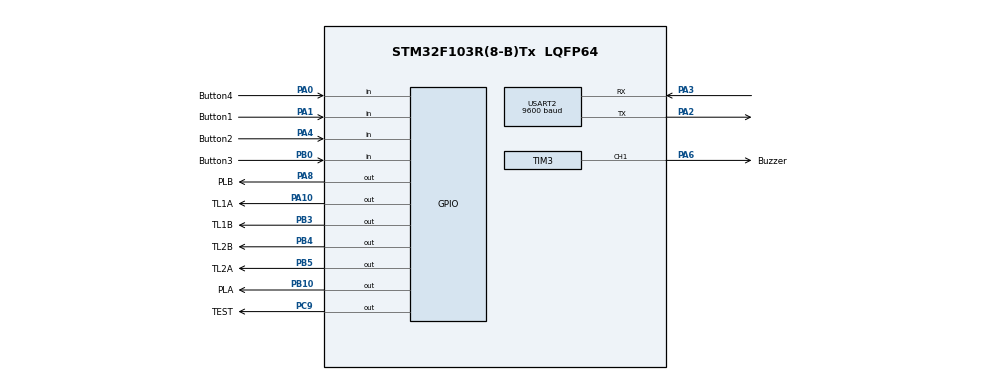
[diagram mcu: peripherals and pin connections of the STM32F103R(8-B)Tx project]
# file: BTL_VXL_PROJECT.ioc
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Mcu.Family=STM32F1
Mcu.Name=STM32F103R(8-B)Tx
Mcu.Package=LQFP64
NVIC.PriorityGroup=NVIC_PRIORITYGROUP_4
NVIC.TIM2_IRQn=true\:0\:0\:false\:false\:true\:true\:true
NVIC.TIM3_IRQn=true\:0\:0\:false\:false\:true\:true\:true
NVIC.USART2_IRQn=true\:0\:0\:false\:false\:true\:true\:true
PA0-WKUP.GPIO_Label=Button4
PA0-WKUP.GPIO_PuPd=GPIO_PULLUP
PA0-WKUP.Signal=GPIO_Input
PA1.GPIO_Label=Button1
PA1.GPIO_PuPd=GPIO_PULLUP
PA1.Signal=GPIO_Input
PA10.GPIO_Label=TL1A
PA10.Signal=GPIO_Output
PA13.Mode=Serial_Wire
PA13.Signal=SYS_JTMS-SWDIO
PA14.Mode=Serial_Wire
PA14.Signal=SYS_JTCK-SWCLK
PA2.Mode=Asynchronous
PA2.Signal=USART2_TX
PA3.Mode=Asynchronous
PA3.Signal=USART2_RX
PA4.GPIO_Label=Button2
PA4.GPIO_PuPd=GPIO_PULLUP
PA4.Signal=GPIO_Input
PA6.GPIO_Label=Buzzer
PA6.Signal=S_TIM3_CH1
PA8.GPIO_Label=PLB
PA8.Signal=GPIO_Output
PB0.GPIO_Label=Button3
PB0.GPIO_PuPd=GPIO_PULLUP
PB0.Signal=GPIO_Input
PB10.GPIO_Label=PLA
PB10.Signal=GPIO_Output
PB3.GPIO_Label=TL1B
PB3.Signal=GPIO_Output
PB4.GPIO_Label=TL2B
PB4.Signal=GPIO_Output
PB5.GPIO_Label=TL2A
PB5.Signal=GPIO_Output
PC9.GPIO_Label=TEST
PC9.Signal=GPIO_Output
ProjectManager.HeapSize=0x200
ProjectManager.StackSize=0x400
ProjectManager.TargetToolchain=STM32CubeIDE
RCC.APB1Freq_Value=8000000
RCC.APB2Freq_Value=8000000
SH.S_TIM3_CH1.0=TIM3_CH1,PWM Generation1 CH1
TIM2.Period=7
TIM2.Prescaler=9999
TIM3.Channel-PWM\ Generation1\ CH1=TIM_CHANNEL_1
TIM3.Period=99
TIM3.Prescaler=79
USART2.BaudRate=9600
USART2.VirtualMode=VM_ASYNC
VP_TIM2_VS_ClockSourceINT.Mode=Internal
VP_TIM3_VS_ClockSourceINT.Mode=Internal
board=custom

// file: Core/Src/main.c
/* USER CODE BEGIN Header */
/**
  ******************************************************************************
  * @file           : main.c
  * @brief          : Main program body
  ******************************************************************************
  * @attention
  *
  * <h2><center>&copy; Copyright (c) 2023 STMicroelectronics.
  * All rights reserved.</center></h2>
  *
  * This software component is licensed by ST under BSD 3-Clause license,
  * the "License"; You may not use this file except in compliance with the
  * License. You may obtain a copy of the License at:
  *                        opensource.org/licenses/BSD-3-Clause
  *
  ******************************************************************************
  */
/* USER CODE END Header */
#include "main.h"

/* USER CODE BEGIN Includes */
#include "scheduler.h"
#include "buzzer.h"
#include "global.h"
#include "fsm_auto.h"
#include "fsm_manual.h"
#include "task.h"
/* USER CODE END Includes */

TIM_HandleTypeDef htim2;
TIM_HandleTypeDef htim3;

UART_HandleTypeDef huart2;

void SystemClock_Config(void);
static void MX_GPIO_Init(void);
static void MX_TIM2_Init(void);
static void MX_USART2_UART_Init(void);
static void MX_TIM3_Init(void);

char tx_buffer_1[27] = "Hello\n\r";
void test_print_1(){
	int len=sprintf(str,"%s\r\n","Hello world");
	HAL_UART_Transmit (&huart2 , (uint8_t *) str, len, 1000);
}
int main(void)
{

  /* MCU Configuration--------------------------------------------------------*/

  /* Reset of all peripherals, Initializes the Flash interface and the Systick. */
  HAL_Init();

  /* Configure the system clock */
  SystemClock_Config();

  /* Initialize all configured peripherals */
  MX_GPIO_Init();
  MX_TIM2_Init();
  MX_USART2_UART_Init();
  MX_TIM3_Init();
  /* USER CODE BEGIN 2 */
  HAL_TIM_Base_Start_IT(&htim2);
  HAL_TIM_PWM_Start(&htim3, TIM_CHANNEL_1);

  /* USER CODE END 2 */

  /* Infinite loop */
  /* USER CODE BEGIN WHILE */
	SCH_Add_Task(buzzer, 0, 1);// task buzzer
	SCH_Add_Task(timerRun, 0, 1);
	SCH_Add_Task(scanLed, 0, 1);
    SCH_Add_Task(getKeyinput, 0, 1);
    SCH_Add_Task(print_statement, 0, 1);// uart
    SCH_Add_Task(fsm_auto, 0, 1);
    SCH_Add_Task(fsm_manual, 0, 1);
    SCH_Add_Task(fsm_pedestrian_light, 0, 1);

  while (1)
    {
    /* USER CODE END WHILE */

    /* USER CODE BEGIN 3 */
//	  fsm_auto();
//	  fsm_manual();
//	  fsm_pedestrian_light();
//	  buzzer();
//	  print_statement();
	  SCH_Dispatch_Tasks();
    }
  /* USER CODE END 3 */
}

void SystemClock_Config(void)
{
  RCC_OscInitTypeDef RCC_OscInitStruct = {0};
  RCC_ClkInitTypeDef RCC_ClkInitStruct = {0};

  /** Initializes the RCC Oscillators according to the specified parameters
  * in the RCC_OscInitTypeDef structure.
  */
  RCC_OscInitStruct.OscillatorType = RCC_OSCILLATORTYPE_HSI;
  RCC_OscInitStruct.HSIState = RCC_HSI_ON;
  RCC_OscInitStruct.HSICalibrationValue = RCC_HSICALIBRATION_DEFAULT;
  RCC_OscInitStruct.PLL.PLLState = RCC_PLL_NONE;
  if (HAL_RCC_OscConfig(&RCC_OscInitStruct) != HAL_OK)
  {
    Error_Handler();
  }
  /** Initializes the CPU, AHB and APB buses clocks
  */
  RCC_ClkInitStruct.ClockType = RCC_CLOCKTYPE_HCLK|RCC_CLOCKTYPE_SYSCLK
                              |RCC_CLOCKTYPE_PCLK1|RCC_CLOCKTYPE_PCLK2;
  RCC_ClkInitStruct.SYSCLKSource = RCC_SYSCLKSOURCE_HSI;
  RCC_ClkInitStruct.AHBCLKDivider = RCC_SYSCLK_DIV1;
  RCC_ClkInitStruct.APB1CLKDivider = RCC_HCLK_DIV1;
  RCC_ClkInitStruct.APB2CLKDivider = RCC_HCLK_DIV1;

  if (HAL_RCC_ClockConfig(&RCC_ClkInitStruct, FLASH_LATENCY_0) != HAL_OK)
  {
    Error_Handler();
  }
}

static void MX_TIM2_Init(void)
{

  TIM_ClockConfigTypeDef sClockSourceConfig = {0};
  TIM_MasterConfigTypeDef sMasterConfig = {0};

  htim2.Instance = TIM2;
  htim2.Init.Prescaler = 9999;
  htim2.Init.CounterMode = TIM_COUNTERMODE_UP;
  htim2.Init.Period = 7;
  htim2.Init.ClockDivision = TIM_CLOCKDIVISION_DIV1;
  htim2.Init.AutoReloadPreload = TIM_AUTORELOAD_PRELOAD_DISABLE;
  if (HAL_TIM_Base_Init(&htim2) != HAL_OK)
  {
    Error_Handler();
  }
  sClockSourceConfig.ClockSource = TIM_CLOCKSOURCE_INTERNAL;
  if (HAL_TIM_ConfigClockSource(&htim2, &sClockSourceConfig) != HAL_OK)
  {
    Error_Handler();
  }
  sMasterConfig.MasterOutputTrigger = TIM_TRGO_RESET;
  sMasterConfig.MasterSlaveMode = TIM_MASTERSLAVEMODE_DISABLE;
  if (HAL_TIMEx_MasterConfigSynchronization(&htim2, &sMasterConfig) != HAL_OK)
  {
    Error_Handler();
  }

}

static void MX_TIM3_Init(void)
{

  TIM_ClockConfigTypeDef sClockSourceConfig = {0};
  TIM_MasterConfigTypeDef sMasterConfig = {0};
  TIM_OC_InitTypeDef sConfigOC = {0};

  htim3.Instance = TIM3;
  htim3.Init.Prescaler = 79;
  htim3.Init.CounterMode = TIM_COUNTERMODE_UP;
  htim3.Init.Period = 99;
  htim3.Init.ClockDivision = TIM_CLOCKDIVISION_DIV1;
  htim3.Init.AutoReloadPreload = TIM_AUTORELOAD_PRELOAD_DISABLE;
  if (HAL_TIM_Base_Init(&htim3) != HAL_OK)
  {
    Error_Handler();
  }
  sClockSourceConfig.ClockSource = TIM_CLOCKSOURCE_INTERNAL;
  if (HAL_TIM_ConfigClockSource(&htim3, &sClockSourceConfig) != HAL_OK)
  {
    Error_Handler();
  }
  if (HAL_TIM_PWM_Init(&htim3) != HAL_OK)
  {
    Error_Handler();
  }
  sMasterConfig.MasterOutputTrigger = TIM_TRGO_RESET;
  sMasterConfig.MasterSlaveMode = TIM_MASTERSLAVEMODE_DISABLE;
  if (HAL_TIMEx_MasterConfigSynchronization(&htim3, &sMasterConfig) != HAL_OK)
  {
    Error_Handler();
  }
  sConfigOC.OCMode = TIM_OCMODE_PWM1;
  sConfigOC.Pulse = 0;
  sConfigOC.OCPolarity = TIM_OCPOLARITY_HIGH;
  sConfigOC.OCFastMode = TIM_OCFAST_DISABLE;
  if (HAL_TIM_PWM_ConfigChannel(&htim3, &sConfigOC, TIM_CHANNEL_1) != HAL_OK)
  {
    Error_Handler();
  }
  HAL_TIM_MspPostInit(&htim3);

}

static void MX_USART2_UART_Init(void)
{

  huart2.Instance = USART2;
  huart2.Init.BaudRate = 9600;
  huart2.Init.WordLength = UART_WORDLENGTH_8B;
  huart2.Init.StopBits = UART_STOPBITS_1;
  huart2.Init.Parity = UART_PARITY_NONE;
  huart2.Init.Mode = UART_MODE_TX_RX;
  huart2.Init.HwFlowCtl = UART_HWCONTROL_NONE;
  huart2.Init.OverSampling = UART_OVERSAMPLING_16;
  if (HAL_UART_Init(&huart2) != HAL_OK)
  {
    Error_Handler();
  }

}

static void MX_GPIO_Init(void)
{
  GPIO_InitTypeDef GPIO_InitStruct = {0};

  /* GPIO Ports Clock Enable */
  __HAL_RCC_GPIOA_CLK_ENABLE();
  __HAL_RCC_GPIOB_CLK_ENABLE();
  __HAL_RCC_GPIOC_CLK_ENABLE();

  /*Configure GPIO pin Output Level */
  HAL_GPIO_WritePin(GPIOB, PLA_Pin|TL1B_Pin|TL2B_Pin|TL2A_Pin, GPIO_PIN_RESET);

  /*Configure GPIO pin Output Level */
  HAL_GPIO_WritePin(TEST_GPIO_Port, TEST_Pin, GPIO_PIN_RESET);

  /*Configure GPIO pin Output Level */
  HAL_GPIO_WritePin(GPIOA, PLB_Pin|TL1A_Pin, GPIO_PIN_RESET);

  /*Configure GPIO pins : Button4_Pin Button1_Pin Button2_Pin */
  GPIO_InitStruct.Pin = Button4_Pin|Button1_Pin|Button2_Pin;
  GPIO_InitStruct.Mode = GPIO_MODE_INPUT;
  GPIO_InitStruct.Pull = GPIO_PULLUP;
  HAL_GPIO_Init(GPIOA, &GPIO_InitStruct);

  /*Configure GPIO pin : Button3_Pin */
  GPIO_InitStruct.Pin = Button3_Pin;
  GPIO_InitStruct.Mode = GPIO_MODE_INPUT;
  GPIO_InitStruct.Pull = GPIO_PULLUP;
  HAL_GPIO_Init(Button3_GPIO_Port, &GPIO_InitStruct);

  /*Configure GPIO pins : PLA_Pin TL1B_Pin TL2B_Pin TL2A_Pin */
  GPIO_InitStruct.Pin = PLA_Pin|TL1B_Pin|TL2B_Pin|TL2A_Pin;
  GPIO_InitStruct.Mode = GPIO_MODE_OUTPUT_PP;
  GPIO_InitStruct.Pull = GPIO_NOPULL;
  GPIO_InitStruct.Speed = GPIO_SPEED_FREQ_LOW;
  HAL_GPIO_Init(GPIOB, &GPIO_InitStruct);

  /*Configure GPIO pin : TEST_Pin */
  GPIO_InitStruct.Pin = TEST_Pin;
  GPIO_InitStruct.Mode = GPIO_MODE_OUTPUT_PP;
  GPIO_InitStruct.Pull = GPIO_NOPULL;
  GPIO_InitStruct.Speed = GPIO_SPEED_FREQ_LOW;
  HAL_GPIO_Init(TEST_GPIO_Port, &GPIO_InitStruct);

  /*Configure GPIO pins : PLB_Pin TL1A_Pin */
  GPIO_InitStruct.Pin = PLB_Pin|TL1A_Pin;
  GPIO_InitStruct.Mode = GPIO_MODE_OUTPUT_PP;
  GPIO_InitStruct.Pull = GPIO_NOPULL;
  GPIO_InitStruct.Speed = GPIO_SPEED_FREQ_LOW;
  HAL_GPIO_Init(GPIOA, &GPIO_InitStruct);

}

/* USER CODE BEGIN 4 */
void HAL_TIM_PeriodElapsedCallback(TIM_HandleTypeDef *htim){
//	scanLed(); //scan 3 LED (2 Traffic and 1 Pedestrian)
//	timerRun(); // software timer
//	getKeyinput(); // button
//	print_statement();
	SCH_Update();
}
void HAL_UART_RxCpltCallback ( UART_HandleTypeDef * huart ) {

}
/* USER CODE END 4 */

void Error_Handler(void)
{
  __disable_irq();
  while (1)
  {
  }
}

/************************ (C) COPYRIGHT STMicroelectronics *****END OF FILE****/
